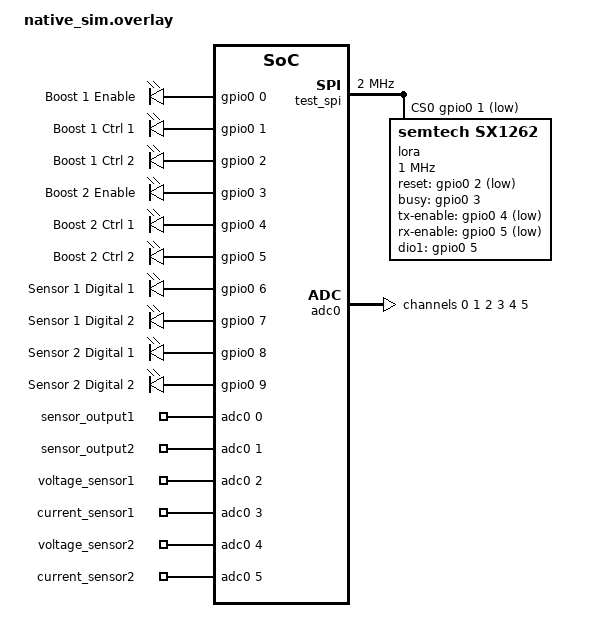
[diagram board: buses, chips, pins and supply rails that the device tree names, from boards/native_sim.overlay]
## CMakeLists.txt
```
# SPDX-License-Identifier: Apache-2.0

cmake_minimum_required(VERSION 3.20.0)

find_package(Zephyr REQUIRED HINTS $ENV{ZEPHYR_BASE})

project(sensor_app_tests)

target_include_directories(app PRIVATE 
    ${CMAKE_CURRENT_SOURCE_DIR}/../../../app/include
    ${CMAKE_CURRENT_SOURCE_DIR}/fakes
)

target_sources(app PRIVATE src/main.c
    ${CMAKE_CURRENT_SOURCE_DIR}/../../../app/src/sensor_app.c
    ${CMAKE_CURRENT_SOURCE_DIR}/../../../app/src/sensor_scheduling.c
    ${CMAKE_CURRENT_SOURCE_DIR}/../../../app/src/sensor_timer.c
    ${CMAKE_CURRENT_SOURCE_DIR}/../../../app/src/sensor_nvs.c
    ${CMAKE_CURRENT_SOURCE_DIR}/../../../app/src/sensor_data.c
    ${CMAKE_CURRENT_SOURCE_DIR}/../../../app/src/sensor_names.c
    ${CMAKE_CURRENT_SOURCE_DIR}/fakes/sensor_ble_fakes.c
    ${CMAKE_CURRENT_SOURCE_DIR}/fakes/sensor_power_fakes.c
    ${CMAKE_CURRENT_SOURCE_DIR}/fakes/sensor_reading_fakes.c
    ${CMAKE_CURRENT_SOURCE_DIR}/fakes/sensor_lorawan_fakes.c
    ${CMAKE_CURRENT_SOURCE_DIR}/fakes/sensor_pmic_fakes.c
)
```

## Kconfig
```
menu "App Version"

config HW_VERSION_MAJOR
	int "Hardware major version number"
	default 1

config HW_VERSION_MINOR
	int "Hardware minor version number"
	default 0

config APP_VERSION_MAJOR
	int "Firmware major verison number"
	default 1

config APP_VERSION_MINOR
	int "Firmware minor verison number"
	default 0

config APP_VERSION_PATCH
	int "Firmware patch verison number"
	default 0

config APP_VERSION_COMMIT
	int "Firmware commit verison number"
	default 0

config APP_VERSION_HASH
	string "Firmware version hash provided by Git"
	default ""

config APP_VERSION
	string "Full firmware version string provided by Git"
	default "1.0.0"

endmenu

menu "Zephyr Kernel"
source "Kconfig.zephyr"
endmenu
```

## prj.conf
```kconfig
CONFIG_ZTEST=y

# SENSOR APP CONFIGS
CONFIG_MAIN_THREAD_PRIORITY=2

# SENSOR DATA CONFIGS
CONFIG_GPIO=y
CONFIG_ADC=y
CONFIG_REGULATOR=y
CONFIG_FPU=y
CONFIG_HEAP_MEM_POOL_SIZE=1024
CONFIG_RING_BUFFER=y

# SENSOR SCHEDULING CONFIGS
CONFIG_COUNTER=y
CONFIG_COUNTER_NATIVE_POSIX_FREQUENCY=1
CONFIG_COUNTER_NATIVE_POSIX_NBR_CHANNELS=3

# SENSOR NVS CONFIGS
CONFIG_FLASH=y
CONFIG_NVS=y

# SENSOR LORAWAN CONFIGS
CONFIG_LORA=y
CONFIG_LORAWAN=y
# Turn off log messages for failed communication with non-existing LoRa PHY
CONFIG_LORA_LOG_LEVEL_OFF=y

# APP VERSION CONFIGS
CONFIG_APP_VERSION_MAJOR=0
CONFIG_APP_VERSION_MINOR=2
CONFIG_APP_VERSION_PATCH=1
CONFIG_APP_VERSION_COMMIT=2
CONFIG_APP_VERSION_HASH="ga75889a"
CONFIG_APP_VERSION="0.2.1-2-ga75889a"
```

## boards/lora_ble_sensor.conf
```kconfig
# USB CONSOLE 
CONFIG_USB_DEVICE_STACK=y
CONFIG_USB_DEVICE_PRODUCT="BLE-LoRa-Sensor"
CONFIG_USB_DEVICE_PID=0x0003
CONFIG_USB_DEVICE_INITIALIZE_AT_BOOT=y
```

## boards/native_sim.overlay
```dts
#include <zephyr/dt-bindings/gpio/gpio.h>
#include <dt-bindings/regulator/npm1300.h>
#include <zephyr/dt-bindings/lora/sx126x.h>

/ {

    leds {
		compatible = "gpio-leds";
		boost1_en: boost1_en {
			gpios = <&gpio0 0 GPIO_ACTIVE_HIGH>;
			label = "Boost 1 Enable";
		};
		boost1_ctrl1: boost1_ctrl1 {
			gpios = <&gpio0 1 GPIO_ACTIVE_HIGH>;
			label = "Boost 1 Ctrl 1";
		};
		boost1_ctrl2: boost1_ctrl2 {
			gpios = <&gpio0 2 GPIO_ACTIVE_HIGH>;
			label = "Boost 1 Ctrl 2";
		};
		boost2_en: boost2_en {
			gpios = <&gpio0 3 GPIO_ACTIVE_HIGH>;
			label = "Boost 2 Enable";
		};
		boost2_ctrl1: boost2_ctrl1 {
			gpios = <&gpio0 4 GPIO_ACTIVE_HIGH>;
			label = "Boost 2 Ctrl 1";
		};
		boost2_ctrl2: boost2_ctrl2 {
			gpios = <&gpio0 5 GPIO_ACTIVE_HIGH>;
			label = "Boost 2 Ctrl 2";
		};
		sensor1_d1: sensor1_d1 {
			gpios = <&gpio0 6 GPIO_ACTIVE_HIGH>;
			label = "Sensor 1 Digital 1";
		};
		sensor1_d2: sensor1_d2 {
			gpios = <&gpio0 7 GPIO_ACTIVE_HIGH>;
			label = "Sensor 1 Digital 2";
		};
		sensor2_d1: sensor2_d1 {
			gpios = <&gpio0 8 GPIO_ACTIVE_HIGH>;
			label = "Sensor 2 Digital 1";
		};
		sensor2_d2: sensor2_d2 {
			gpios = <&gpio0 9 GPIO_ACTIVE_HIGH>;
			label = "Sensor 2 Digital 2";
		};
	};
    aliases {
		sensortimer = &counter0;
		lora0 = &lora;
		boost1en = &boost1_en;
		boost1ctrl1 = &boost1_ctrl1;
		boost1ctrl2 = &boost1_ctrl2;
		boost2en = &boost2_en;
		boost2ctrl1 = &boost2_ctrl1;
		boost2ctrl2 = &boost2_ctrl2;
		sensor1d1 = &sensor1_d1;
		sensor1d2 = &sensor1_d2;
		sensor2d1 = &sensor2_d1;
		sensor2d2 = &sensor2_d2;
    };

	test {
		#address-cells = <1>;
		#size-cells = <1>;

		test_spi: spi@33334444 {
			#address-cells = <1>;
			#size-cells = <0>;
			compatible = "vnd,spi";
			reg = <0x33334444 0x1000>;
			status = "okay";
			clock-frequency = <2000000>;

			cs-gpios = <&gpio0 1 GPIO_ACTIVE_LOW>;

			lora: lora@0 {
				compatible = "semtech,sx1262";
				status = "okay";
				reg = <0>;
				reset-gpios = <&gpio0 2 GPIO_ACTIVE_LOW>;
				busy-gpios = <&gpio0 3 GPIO_ACTIVE_HIGH>;
				tx-enable-gpios = <&gpio0 4 GPIO_ACTIVE_LOW>;
				rx-enable-gpios = <&gpio0 5 GPIO_ACTIVE_LOW>;
				dio1-gpios = <&gpio0 5 GPIO_ACTIVE_HIGH>;
				dio2-tx-enable;
				dio3-tcxo-voltage = <SX126X_DIO3_TCXO_3V3>;
				tcxo-power-startup-delay-ms = <5>;
				spi-max-frequency = <1000000>;
			};
		};
	};

	npm1300_ek_pmic: pmic {

        npm1300_ek_regulators: regulators {
            compatible = "zephyr,fake-regulator";

            npm1300_ek_buck1: buck1 {
                regulator-min-microvolt = <3000000>;
                regulator-max-microvolt = <3000000>;
            };

            npm1300_ek_ldo1: ldo1 {
                regulator-initial-mode = <NPM1300_LDSW_MODE_LDO>;
                /delete-property/ enable-gpios;
                /delete-property/ regulator-init-microvolt;
                regulator-boot-off;
            };

            npm1300_ek_ldo2: ldo2 {
                regulator-initial-mode = <NPM1300_LDSW_MODE_LDO>;
                /delete-property/ enable-gpios;
                /delete-property/ regulator-init-microvolt;
                regulator-boot-off;
            };
        };

        npm1300_ek_charger: charger {
            compatible = "test-charger"; // Dummy compatible
        };

        npm1300_ek_leds: leds {
            compatible = "nordic,npm1300-led";
            nordic,led0-mode = "error";    
            nordic,led1-mode = "charging";    
            nordic,led2-mode = "host";
        };
    };

    zephyr,user {
		/* adjust channel number according to pinmux in board.dts */
		io-channels = <&adc0 0>, <&adc0 1>, <&adc0 2>, <&adc0 3>, <&adc0 4>, <&adc0 5>;
		io-channel-names = "sensor_output1", "sensor_output2", "voltage_sensor1", "current_sensor1", "voltage_sensor2", "current_sensor2";
	};
};

&adc0 {
	status = "okay";
	nchannels = <6>;
	#address-cells = <1>;
	#size-cells = <0>;
	ref-internal-mv = <600>;
	channel@0 {
		reg = <0>;
		zephyr,gain = "ADC_GAIN_1_6";
		zephyr,reference = "ADC_REF_INTERNAL";
		zephyr,acquisition-time = <ADC_ACQ_TIME_DEFAULT>;
		zephyr,input-positive = <2>; 
		zephyr,resolution = <12>;
	};
    channel@1 {
		reg = <1>;
		zephyr,gain = "ADC_GAIN_1_6";
		zephyr,reference = "ADC_REF_INTERNAL";
		zephyr,acquisition-time = <ADC_ACQ_TIME_DEFAULT>;
		zephyr,input-positive = <3>; 
		zephyr,resolution = <12>;
	};
	channel@2 {
		reg = <2>;
		zephyr,gain = "ADC_GAIN_1_6";
		zephyr,reference = "ADC_REF_INTERNAL";
		zephyr,acquisition-time = <ADC_ACQ_TIME_DEFAULT>;
		zephyr,input-positive = <1>; 
		zephyr,resolution = <12>;
	};
    channel@3 {
		reg = <3>;
		zephyr,gain = "ADC_GAIN_1_2";
		zephyr,reference = "ADC_REF_INTERNAL";
		zephyr,acquisition-time = <ADC_ACQ_TIME_DEFAULT>;
		zephyr,input-positive = <0>; 
		zephyr,resolution = <12>;
	};
	channel@4 {
		reg = <4>;
		zephyr,gain = "ADC_GAIN_1_6";
		zephyr,reference = "ADC_REF_INTERNAL";
		zephyr,acquisition-time = <ADC_ACQ_TIME_DEFAULT>;
		zephyr,input-positive = <6>; 
		zephyr,resolution = <12>;
	};
    channel@5 {
		reg = <5>;
		zephyr,gain = "ADC_GAIN_1_2";
		zephyr,reference = "ADC_REF_INTERNAL";
		zephyr,acquisition-time = <ADC_ACQ_TIME_DEFAULT>;
		zephyr,input-positive = <7>; 
		zephyr,resolution = <12>;
	};
};

&gpio0 {
    status = "okay";
    compatible = "zephyr,gpio-emul";
    ngpios = <32>;
	falling-edge;
    gpio-controller;
    #gpio-cells = <2>;
};
```

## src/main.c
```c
/*
 * Copyright (c) 2016 Intel Corporation
 *
 * SPDX-License-Identifier: Apache-2.0
 * Tests:
 * - Confirm schedule can be initialized
 * - multiple actions can be tied to one alarm 
 * - actions can be scheduled to occur at different times
 */

#include <zephyr/ztest.h>
#include "sensor_app.h"

#include <zephyr/logging/log.h>
#include <zephyr/fff.h>
#include "sensor_ble_fakes.h"
#include "sensor_power_fakes.h"
#include "sensor_reading_fakes.h"
#include "sensor_lorawan_fakes.h"
#include "sensor_pmic_fakes.h"

LOG_MODULE_REGISTER(tests_app, LOG_LEVEL_DBG);

DEFINE_FFF_GLOBALS;

sensor_app_config_t sensor_app_config = {
    .state = SENSOR_APP_STATE_CONFIGURATION,
    .is_sensor_1_enabled = 0,
    .is_sensor_2_enabled = 0,
    .sensor_1_type = NULL_SENSOR,
    .sensor_2_type = NULL_SENSOR,
    .sensor_1_voltage = SENSOR_VOLTAGE_OFF,
    .sensor_2_voltage = SENSOR_VOLTAGE_OFF,
    .sensor_1_frequency = 0,
    .sensor_2_frequency = 0,
};

/**
 * @brief Setup sensor power systems 
 * 
 */
static void *after_tests(void)
{
    int ret;
    ret = sensor_nvs_clear();
    zassert_ok(ret, "Failed to clear NVS");
    memset(&sensor_app_config, 0, sizeof(sensor_app_config_t)); // reset the sensor app config
    sensor_pmic_fakes_reset();
}

ZTEST_SUITE(app, NULL, NULL, NULL, after_tests, NULL);

/**
 * @brief Test that the sensor app can be initialized
 * 
 */
ZTEST(app, test_app_init)
{
    int ret;
    sensor_pmic_init_fake.return_val = 0;
    ret = sensor_app_init(&sensor_app_config);
    zassert_ok(ret, "App init failed");
    zassert_equal(sensor_pmic_init_fake.call_count, 1, "PMIC init should be called");
}


/**
 * @brief Test that the sensor app can is initialized in the configuration state when no configuration is set
 * 
 */
ZTEST(app, test_app_get_state)
{
    int ret;
    ret = sensor_app_init(&sensor_app_config);
    zassert_ok(ret, "App init failed");
    /* Test that the app is in the configuration state after initialization. */
    zassert_equal(sensor_app_config.state, SENSOR_APP_STATE_CONFIGURATION, "App state is not configuration");
}

/**
 * @brief Test that the sensor app can be initialized
 * 
 */
ZTEST(app, test_app_running_state_fails_when_state_is_configuration)
{
    int ret;
    ret = sensor_app_init(&sensor_app_config);
    zassert_ok(ret, "App init failed");
    /* Set the app to the running state. */
    ret = sensor_app_running_state();
    zassert_not_ok(ret, "App running state should fail when state is configuration");
}

/**
 * @brief Test that the sensor app can be initialized
 * 
 */
ZTEST(app, test_app_running_state_fails_when_neither_sensor_is_enabled)
{
    int ret;
    ret = sensor_app_init(&sensor_app_config);
    zassert_ok(ret, "App init failed");
    sensor_app_config.state = SENSOR_APP_STATE_RUNNING;
    /* Set the app to the running state. */
    ret = sensor_app_running_state();
    zassert_not_ok(ret, "App running state should fail when neither sensor is enabled");
    zassert_equal(sensor_app_config.state, SENSOR_APP_STATE_ERROR, "App state is not error");
}

/**
 * @brief Test that the sensor fails when sensor 1 is enabled but has 0 frequency
 * 
 */
ZTEST(app, test_app_running_state_fails_when_sensor_1_is_enabled_but_has_0_frequency)
{
    int ret;
    ret = sensor_app_init(&sensor_app_config);
    zassert_ok(ret, "App init failed");
    sensor_app_config.state = SENSOR_APP_STATE_RUNNING;
    sensor_app_config.is_sensor_1_enabled = 1;
    sensor_app_config.sensor_1_frequency = 0;
    sensor_app_config.sensor_1_type = PULSE_SENSOR;
    /* Set the app to the running state. */
    ret = sensor_app_running_state();
    zassert_not_ok(ret, "App running state should fail when sensor 1 is enabled but has 0 frequency");
    zassert_equal(sensor_app_config.state, SENSOR_APP_STATE_ERROR, "App state is not error");
}

/**
 * @brief Test that the sensor fails when sensor 2 is enabled but has 0 frequency
 * 
 */
ZTEST(app, test_app_running_state_fails_when_sensor_2_is_enabled_but_has_0_frequency)
{
    int ret;
    ret = sensor_app_init(&sensor_app_config);
    zassert_ok(ret, "App init failed");
    sensor_app_config.state = SENSOR_APP_STATE_RUNNING;
    sensor_app_config.is_sensor_2_enabled = 1;
    sensor_app_config.sensor_2_frequency = 0;
    sensor_app_config.sensor_2_type = PULSE_SENSOR;
    /* Set the app to the running state. */
    ret = sensor_app_running_state();
    zassert_not_ok(ret, "App running state should fail when sensor 2 is enabled but has 0 frequency");
    zassert_equal(sensor_app_config.state, SENSOR_APP_STATE_ERROR, "App state is not error");
}

/**
 * @brief Test that the sensor fails when sensor 1 is enabled but has null sensor type
 * 
 */
ZTEST(app, test_app_running_state_fails_when_sensor_1_is_enabled_but_has_null_sensor_type)
{
    int ret;
    ret = sensor_app_init(&sensor_app_config);
    zassert_ok(ret, "App init failed");
    sensor_app_config.state = SENSOR_APP_STATE_RUNNING;
    sensor_app_config.is_sensor_1_enabled = 1;
    sensor_app_config.sensor_1_frequency = 1;
    sensor_app_config.sensor_1_type = NULL_SENSOR;
    /* Set the app to the running state. */
    ret = sensor_app_running_state();
    zassert_not_ok(ret, "App running state should fail when sensor 1 is enabled but has null sensor type");
    zassert_equal(sensor_app_config.state, SENSOR_APP_STATE_ERROR, "App state is not error");
}

/**
 * @brief Test that the sensor fails when sensor 2 is enabled but has null sensor type
 * 
 */
ZTEST(app, test_app_running_state_fails_when_sensor_2_is_enabled_but_has_null_sensor_type)
{
    int ret;
    ret = sensor_app_init(&sensor_app_config);
    zassert_ok(ret, "App init failed");
    sensor_app_config.state = SENSOR_APP_STATE_RUNNING;
    sensor_app_config.is_sensor_2_enabled = 1;
    sensor_app_config.sensor_2_frequency = 1;
    sensor_app_config.sensor_2_type = NULL_SENSOR;
    /* Set the app to the running state. */
    ret = sensor_app_running_state();
    zassert_not_ok(ret, "App running state should fail when sensor 2 is enabled but has null sensor type");
    zassert_equal(sensor_app_config.state, SENSOR_APP_STATE_ERROR, "App state is not error");
}
```
